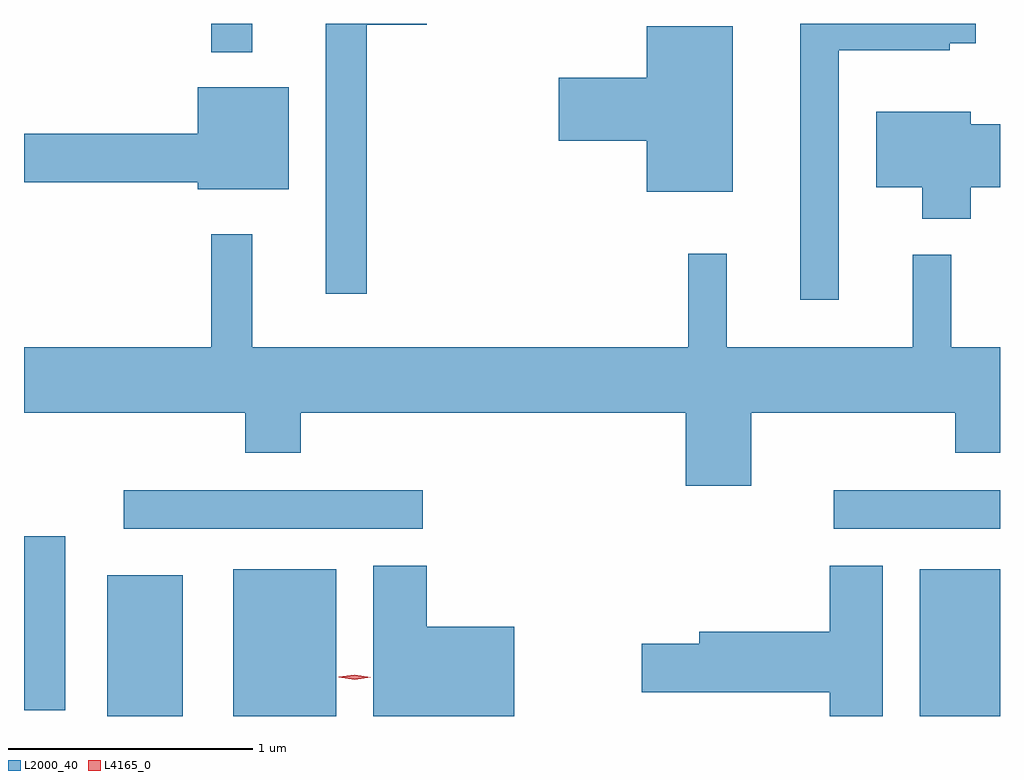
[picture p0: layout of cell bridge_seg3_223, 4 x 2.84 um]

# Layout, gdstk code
import gdstk
lib = gdstk.Library(unit=1e-6, precision=1e-09)
def R(c, l, rs):  # rectangles x0, y0, x1, y1
    for r in rs: c.add(gdstk.rectangle(r[:2], r[2:], *l))
def P(c, l, *ps):  # polygons
    for p in ps: c.add(gdstk.Polygon(p, *l))
L2000_40 = (2000, 40)
L4165_0 = (4165, 0)

bridge_seg3_223 = lib.new_cell('bridge_seg3_223')
R(bridge_seg3_223, L2000_40, [(951.966,1115.892,952.274,1116.469), (952.481,1115.892,952.904,1116.494), (955.296,1115.892,955.624,1116.494), (951.624,1115.916,951.794,1116.629), (952.033,1116.661,953.258,1116.819), (954.943,1116.661,955.624,1116.819), (952.391,1118.613,952.559,1118.73)])
P(bridge_seg3_223, L2000_40, [(953.029,1118.726),(953.274,1118.726),(953.274,1118.73),(952.861,1118.73),(952.861,1117.623),(953.029,1117.623)],
  [(954.964,1118.621),(955.419,1118.621),(955.419,1118.651),(955.524,1118.651),(955.524,1118.73),(954.806,1118.73),(954.806,1117.598),(954.964,1117.598)],
  [(954.529,1118.719),(954.176,1118.719),(954.176,1118.509),(953.816,1118.509),(953.816,1118.251),(954.176,1118.251),(954.176,1118.041),(954.529,1118.041)],
  [(952.709,1118.469),(952.336,1118.469),(952.336,1118.279),(951.624,1118.279),(951.624,1118.081),(952.336,1118.081),(952.336,1118.051),(952.709,1118.051)],
  [(955.504,1118.061),(955.624,1118.061),(955.624,1118.319),(955.504,1118.319),(955.504,1118.369),(955.116,1118.369),(955.116,1118.061),(955.306,1118.061),(955.306,1117.931),(955.504,1117.931)],
  [(954.604,1117.136),(955.441,1117.136),(955.441,1116.971),(955.624,1116.971),(955.624,1117.404),(955.424,1117.404),(955.424,1117.783),(955.266,1117.783),(955.266,1117.404),(954.504,1117.404),(954.504,1117.788),(954.346,1117.788),(954.346,1117.404),(952.559,1117.404),(952.559,1117.868),(952.391,1117.868),(952.391,1117.404),(951.624,1117.404),(951.624,1117.136),(952.531,1117.136),(952.531,1116.971),(952.759,1116.971),(952.759,1117.136),(954.336,1117.136),(954.336,1116.836),(954.604,1116.836)],
  [(953.634,1116.259),(953.274,1116.259),(953.274,1116.509),(953.056,1116.509),(953.056,1115.892),(953.634,1115.892)],
  [(955.144,1116.509),(954.926,1116.509),(954.926,1116.239),(954.391,1116.239),(954.391,1116.189),(954.156,1116.189),(954.156,1115.991),(954.926,1115.991),(954.926,1115.892),(955.144,1115.892)])
P(bridge_seg3_223, L4165_0, [(952.979,1116.042),(952.914,1116.052),(952.913,1116.052),(952.914,1116.053),(952.98,1116.062),(953.045,1116.052),(953.046,1116.051),(953.045,1116.051)])

lib.write_gds('bridge_seg3_223.gds')
